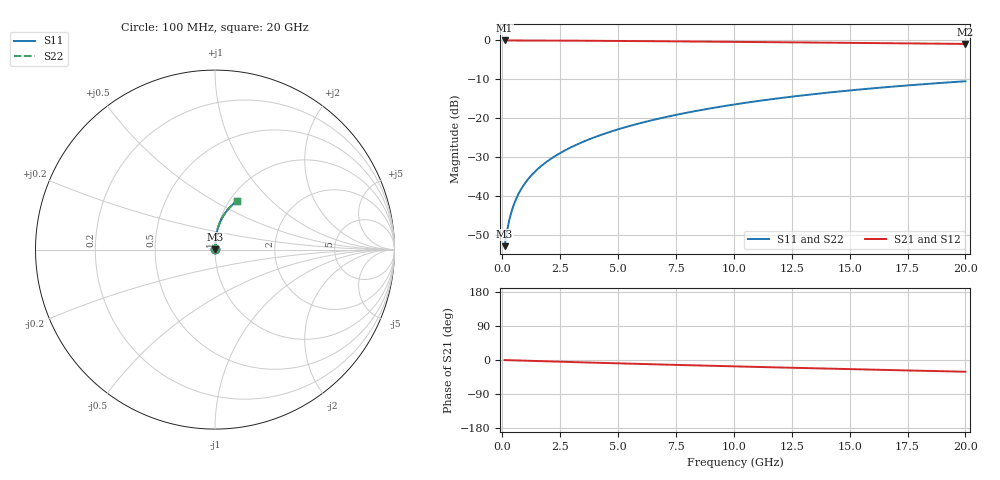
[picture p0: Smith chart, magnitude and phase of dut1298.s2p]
! Touchstone file exported from HFSS 2024.1.0
!  File:  C:/UserFiles/LocalFiles/RDL_TSV_Batchsim/temp_RDL_bottom_1298_1780247380.aedt
!  Generated:  01:12:03 AM Jun  1, 2026
!  Design:  RDL_bottom
!  Project:  temp_RDL_bottom_1298_1780247380
!  Setup:  Setup1
!  Solution:  Sweep
! Variables:
!  dtsv = 10.80580581um
!  hbump = 3um
!  htsv = 90.58um
!  ldown = 431.15um
!  lrdl = 100um
!  p = 40
!  p1 = 49.07um
!  rhole = 1um
!  t = 450um
!  tdown = 4.93um
!  trdl = 3.915915916um
!  wdown = 20.71um
!  wrdl = 20um
# GHz S MA R 50.000000
! Terminal data exported
! Port[1] = RDL1_T1
! Port[2] = RDL1_T2
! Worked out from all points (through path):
!   200 points, 100 MHz to 20 GHz, reference 50 ohm
!   highest |S21| = -0.01 dB at 100 MHz (marker M1); lowest = -0.9 dB at 20 GHz (marker M2)
!   group delay of S21, straight-line fit = 4.26 ps
!   lowest |S11| = -53.0 dB at 100 MHz (marker M3), VSWR 1.00, Z = 50.2 + j0.153 ohm
!   |S11| at or under -10 dB: start of sweep to end of sweep
!   |S22| runs from -53.0 to -10.5 dB; largest |S21 - S12| = 3.3e-15
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0.1  0.002245 42.8  0.9983 -0.2  0.9983 -0.2  0.002245 42.8
! Gamma 0 0 0 0
! Port Impedance 50 0 50 0
0.2  0.003469 61.3  0.9982 -0.4  0.9982 -0.4  0.003469 61.3
0.3  0.004855 69.6  0.9981 -0.6  0.9981 -0.6  0.004855 69.5
0.4  0.006284 74.0  0.998 -0.7  0.998 -0.7  0.006285 74.0
0.5  0.007721 76.6  0.9979 -0.9  0.9979 -0.9  0.007722 76.6
0.7  0.01058 79.6  0.9976 -1.3  0.9976 -1.3  0.01058 79.6
0.8  0.01199 80.6  0.9975 -1.5  0.9975 -1.5  0.01199 80.5
1  0.01478 81.8  0.9973 -1.8  0.9973 -1.8  0.01478 81.8
1.2  0.01755 82.7  0.997 -2.2  0.997 -2.2  0.01755 82.7
1.4  0.0203 83.3  0.9966 -2.6  0.9966 -2.6  0.0203 83.3
1.7  0.02442 84.0  0.996 -3.1  0.996 -3.1  0.02442 84.0
2  0.02855 84.5  0.9953 -3.6  0.9953 -3.6  0.02855 84.5
2.7  0.03829 85.2  0.9933 -4.9  0.9933 -4.9  0.03829 85.2
3.5  0.04965 85.5  0.9905 -6.3  0.9905 -6.3  0.04965 85.5
4.2  0.0598 85.5  0.9877 -7.5  0.9877 -7.5  0.0598 85.5
5  0.07164 85.2  0.9842 -8.8  0.9842 -8.8  0.07165 85.2
6.8  0.09907 83.9  0.9753 -11.8  0.9753 -11.8  0.09909 83.9
8.4  0.1241 82.2  0.9668 -14.3  0.9668 -14.3  0.1241 82.2
10.1  0.151 80.0  0.9576 -16.9  0.9576 -16.9  0.151 80.0
13.4  0.2026 75.3  0.9391 -21.8  0.9391 -21.8  0.2026 75.3
16.7  0.2519 70.4  0.9203 -26.5  0.9203 -26.5  0.252 70.4
20  0.298 65.6  0.901 -31.0  0.901 -31.0  0.2981 65.6
